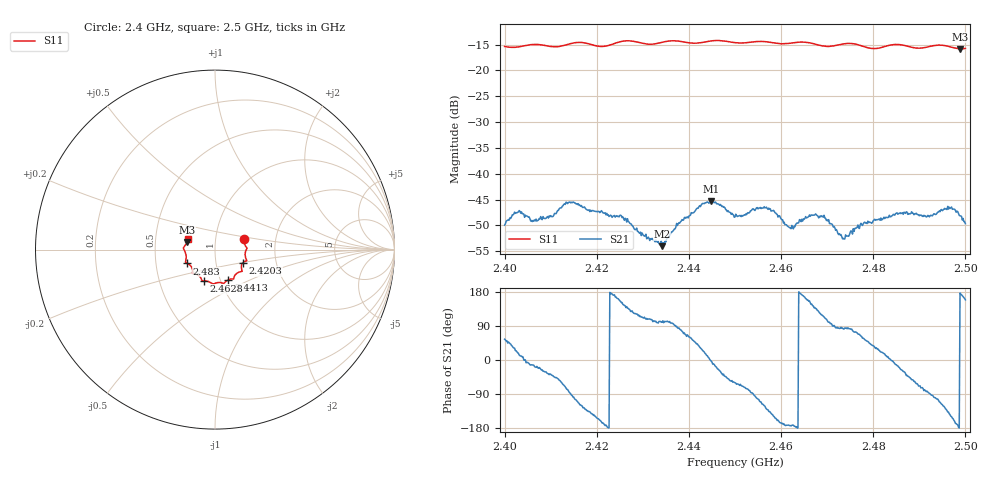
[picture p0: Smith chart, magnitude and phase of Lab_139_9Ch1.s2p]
# Hz S RI R 50
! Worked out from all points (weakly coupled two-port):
!   601 points, 2.4 GHz to 2.5 GHz, reference 50 ohm
!   highest |S21| = -45.32 dB at 2.4448 GHz (marker M1); lowest = -54.0 dB at 2.4342 GHz (marker M2)
!   lowest |S11| = -15.8 dB at 2.4988 GHz (marker M3), VSWR 1.39, Z = 36.4 + j3.18 ohm
!   |S11| at or under -10 dB: start of sweep to end of sweep
!   S12 and S22 are empty: the file has one direction only
!   S11 on the Smith chart (normalised r, x): 2.4 GHz: 1.37, +0.16; 2.4203 GHz: 1.35, -0.21; 2.4413 GHz: 1.09, -0.38; 2.4628 GHz: 0.83, -0.30; 2.483 GHz: 0.72, -0.11; 2.5 GHz: 0.73, +0.09
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2.4e9  0.1608 0.057  0.00183 0.0026  0 0  0 0
2.402667e9  0.1658 0.0283  0.00389 0.00155  0 0  0 0
2.406167e9  0.1781 0.00966  0.00344 -0.000825  0 0  0 0
2.413667e9  0.1718 -0.0488  0.00108 -0.00502  0 0  0 0
2.416667e9  0.1762 -0.0617  -0.0025 -0.00425  0 0  0 0
2.420333e9  0.1549 -0.0739  -0.00393 -0.00183  0 0  0 0
2.425333e9  0.1511 -0.1166  -0.00345 0.00188  0 0  0 0
2.433333e9  0.1079 -0.1485  -0.000295 0.0022  0 0  0 0
2.434167e9  0.106 -0.1545  -0.000333 0.00196  0 0  0 0
2.441333e9  0.0744 -0.1681  0.00296 0.0032  0 0  0 0
2.444833e9  0.0529 -0.186  0.00542 -0.000265  0 0  0 0
2.45e9  0.0293 -0.1836  0.00191 -0.0033  0 0  0 0
2.456833e9  -0.0157 -0.1888  -0.00301 -0.00367  0 0  0 0
2.462833e9  -0.0629 -0.1749  -0.00309 -0.000286  0 0  0 0
2.466667e9  -0.0744 -0.1676  -0.00336 0.00216  0 0  0 0
2.469167e9  -0.0856 -0.1496  -0.00162 0.00344  0 0  0 0
2.473667e9  -0.1218 -0.1342  0.00033 0.00231  0 0  0 0
2.483e9  -0.1551 -0.077  0.00371 0.000548  0 0  0 0
2.483333e9  -0.1573 -0.0759  0.00377 0.000351  0 0  0 0
2.496667e9  -0.1685 0.0204  -0.00375 -0.00269  0 0  0 0
2.498833e9  -0.1563 0.0425  -0.00391 0.000209  0 0  0 0
2.5e9  -0.1527 0.0583  -0.00306 0.00119  0 0  0 0
